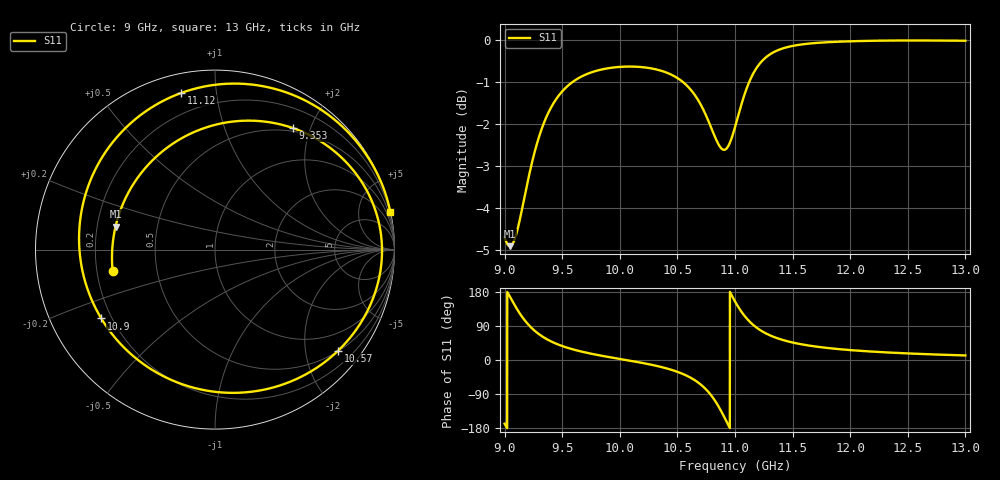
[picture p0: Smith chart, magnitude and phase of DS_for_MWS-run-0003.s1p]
! TOUCHSTONE file generated by CST DESIGN STUDIO
! Date and time: Tue Feb  4 14:35:43 2025
! Project name: C:\Work\MatlabApps\UnitCellOptimizationMatlab\CST\unitcell.cst
! Tree item: Tasks\Sweep1\SPara1\S-Parameters
! Header version: 2024
! Port assignment regex: !\s*Touchstone port\s*([0-9]+)\s*=\s*(CST MWS port|CST DES external port|CST DES block port)\s*(.+)\s* \(\"(.*)\"\)(\s*mode\s*([0-9]+))?.*
! Touchstone port assignment:
! Touchstone port 1 = CST DES external port 1 ("")
# GHz S MA R 50
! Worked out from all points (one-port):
!   4001 points, 9 GHz to 13 GHz, reference 50 ohm
!   lowest |S11| = -4.9 dB at 9.046 GHz (marker M1), VSWR 3.64, Z = 13.9 + j5.29 ohm
!   |S11| at or under -10 dB: nowhere
!   S11 on the Smith chart (normalised r, x): 9 GHz: 0.27, -0.10; 9.353 GHz: 0.45, +1.74; 10.57 GHz: 0.51, -2.70; 10.9 GHz: 0.16, -0.27; 11.12 GHz: 0.09, +0.80; 13 GHz: 0.05, +9.51
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9  0.5827 -168.2
9.046  0.5688 166.9
9.12  0.6015 128.3
9.186  0.6642 100.5
9.259  0.7348 77.7
9.353  0.8047 57.2
9.5  0.8694 36.9
9.709  0.9111 19.3
10  0.9298 2.8
10.294  0.9248 -13.8
10.5  0.9019 -31.2
10.567  0.8874 -39.4
10.682  0.848 -59.8
10.782  0.7939 -89.0
10.845  0.7574 -116.3
10.904  0.7407 -148.8
10.952  0.7533 -177.8
11  0.7881 154.6
11.061  0.8436 125.1
11.124  0.8926 102.3
11.204  0.9341 81.8
11.287  0.9589 67.4
11.383  0.9747 55.8
11.5  0.9849 46.2
11.707  0.993 35.3
12  0.9974 26.2
12.5  0.9997 17.4
13  0.999 12.0
